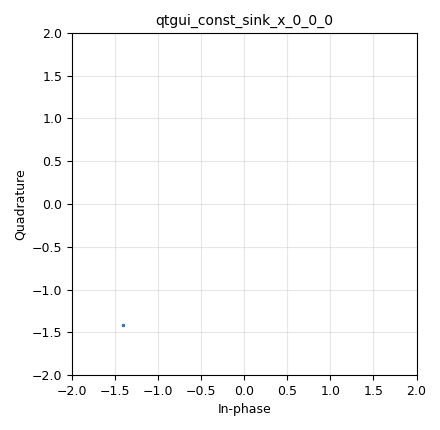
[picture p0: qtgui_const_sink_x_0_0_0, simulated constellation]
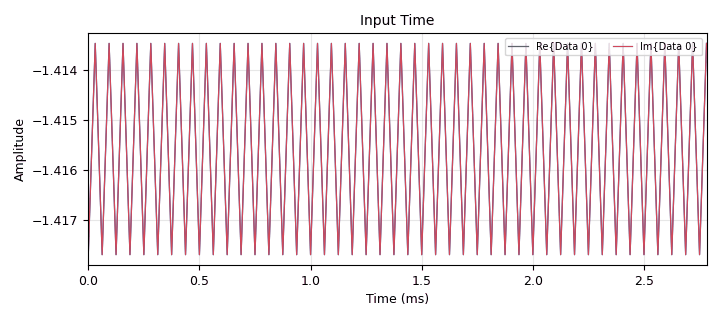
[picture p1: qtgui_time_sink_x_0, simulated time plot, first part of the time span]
options:
  parameters:
    author: yabool2001
    copyright: mzemlo.pl@gmail.com
    description: QPSK modulation nice visualisation with Pluto
    generate_options: qt_gui
    id: yabool2001_QPSK_mod_nice_visual_w_Pluto
    output_language: python
    title: QPSK modulation nice visualisation with Pluto
  states: {}

blocks:
- name: Pluto_iio_context_uri_ip
  id: variable
  parameters:
    value: '"ip:192.168.2.1"'
  states: {}
- name: f_c
  id: variable
  parameters:
    value: '145000000'
  states: {}
- name: samp_rate
  id: variable
  parameters:
    value: '32000'
  states: {}
- name: samp_rate_Pluto
  id: variable
  parameters:
    value: '65105'
  states: {}
- name: variable_constellation_0
  id: variable_constellation
  parameters:
    precision: '8'
    type: qpsk
  states: {}
- name: blocks_repeat_0
  id: blocks_repeat
  parameters:
    interp: samp_rate_Pluto
    type: byte
  states: {}
- name: blocks_vector_source_x_0_1
  id: blocks_vector_source_x
  parameters:
    repeat: 'True'
    type: byte
    vector: '[0,1,2,3]'
  states: {}
- name: digital_constellation_decoder_cb_0
  id: digital_constellation_decoder_cb
  parameters:
    constellation: variable_constellation_0
  states: {state: disabled}
- name: digital_constellation_modulator_0
  id: digital_constellation_modulator
  parameters:
    constellation: variable_constellation_0
    differential: 'True'
    excess_bw: '0.35'
    samples_per_symbol: '2'
  states: {}
- name: iio_pluto_sink_0
  id: iio_pluto_sink
  parameters:
    attenuation1: '10.0'
    bandwidth: '20000000'
    buffer_size: '32768'
    cyclic: 'False'
    filter_source: '''Auto'''
    frequency: f_c
    samplerate: samp_rate_Pluto
    type: fc32
    uri: Pluto_iio_context_uri_ip
  states: {}
- name: iio_pluto_source_0
  id: iio_pluto_source
  parameters:
    bandwidth: '20000000'
    bbdc: 'True'
    buffer_size: '32768'
    filter_source: '''Auto'''
    frequency: f_c
    gain1: '''slow_attack'''
    quadrature: 'True'
    rfdc: 'True'
    samplerate: samp_rate_Pluto
    type: fc32
    uri: Pluto_iio_context_uri_ip
  states: {}
- name: qtgui_const_sink_x_0_0_0
  id: qtgui_const_sink_x
  parameters:
    size: '1'
    type: complex
    update_time: '1'
  states: {}
- name: qtgui_const_sink_x_0_0_0_0
  id: qtgui_const_sink_x
  parameters:
    name: '"Output Constellation"'
    size: '1'
    type: complex
    update_time: '1'
  states: {}
- name: qtgui_time_sink_x_0
  id: qtgui_time_sink_x
  parameters:
    autoscale: 'True'
    name: '"Input Time"'
    size: '2048'
    srate: samp_rate
    type: complex
  states: {}
- name: qtgui_time_sink_x_0_0
  id: qtgui_time_sink_x
  parameters:
    autoscale: 'True'
    name: '"Output Time"'
    size: '2048'
    srate: samp_rate_Pluto
    type: complex
  states: {}

connections:
- [blocks_repeat_0, '0', digital_constellation_modulator_0, '0']
- [blocks_vector_source_x_0_1, '0', blocks_repeat_0, '0']
- [digital_constellation_modulator_0, '0', iio_pluto_sink_0, '0']
- [digital_constellation_modulator_0, '0', qtgui_const_sink_x_0_0_0, '0']
- [digital_constellation_modulator_0, '0', qtgui_time_sink_x_0, '0']
- [iio_pluto_source_0, '0', digital_constellation_decoder_cb_0, '0']
- [iio_pluto_source_0, '0', qtgui_const_sink_x_0_0_0_0, '0']
- [iio_pluto_source_0, '0', qtgui_time_sink_x_0_0, '0']

metadata:
  file_format: 1
  grc_version: 3.10.10.0
